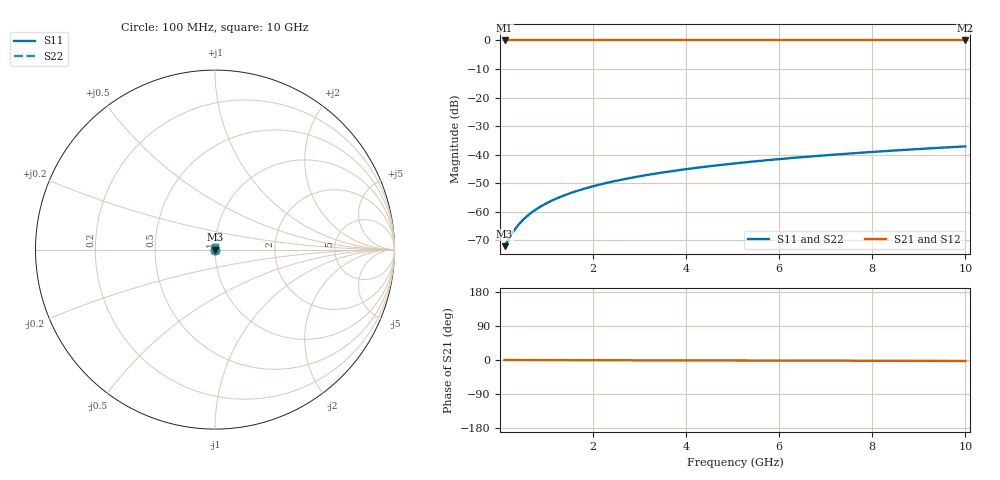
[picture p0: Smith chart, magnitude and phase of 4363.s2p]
# Hz S RI R 50.00
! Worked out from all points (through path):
!   100 points, 100 MHz to 10 GHz, reference 50 ohm
!   highest |S21| = 0.00 dB at 100 MHz (marker M1); lowest = 0.0 dB at 10 GHz (marker M2)
!   lowest |S11| = -72.1 dB at 100 MHz (marker M3), VSWR 1.00, Z = 50 + j0.0139 ohm
!   |S11| at or under -10 dB: start of sweep to end of sweep
!   |S22| runs from -72.1 to -37.1 dB; largest |S21 - S12| = 0
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1e8  0.000206 0.000139  0.9998 -0.000445  0.9998 -0.000445  0.000206 0.000139
2e8  0.000207 0.000277  0.9998 -0.000891  0.9998 -0.000891  0.000207 0.000277
3e8  0.000209 0.000416  0.9998 -0.00134  0.9998 -0.00134  0.000209 0.000416
4e8  0.00021 0.000554  0.9998 -0.00178  0.9998 -0.00178  0.00021 0.000554
5e8  0.000211 0.000693  0.9998 -0.00223  0.9998 -0.00223  0.000211 0.000693
6e8  0.000212 0.000831  0.9998 -0.00267  0.9998 -0.00267  0.000212 0.000831
7e8  0.000213 0.00097  0.9998 -0.00312  0.9998 -0.00312  0.000213 0.00097
9e8  0.000216 0.00125  0.9998 -0.00401  0.9998 -0.00401  0.000216 0.00125
1e9  0.000217 0.00139  0.9998 -0.00445  0.9998 -0.00445  0.000217 0.00139
1.2e9  0.000221 0.00166  0.9998 -0.00535  0.9998 -0.00535  0.000221 0.00166
1.5e9  0.000226 0.00208  0.9998 -0.00668  0.9998 -0.00668  0.000226 0.00208
1.8e9  0.000233 0.00249  0.9997 -0.00802  0.9997 -0.00802  0.000233 0.00249
2.1e9  0.000241 0.00291  0.9997 -0.00936  0.9997 -0.00936  0.000241 0.00291
2.5e9  0.000253 0.00346  0.9997 -0.0111  0.9997 -0.0111  0.000253 0.00346
2.9e9  0.000267 0.00402  0.9997 -0.0129  0.9997 -0.0129  0.000267 0.00402
3.4e9  0.000287 0.00471  0.9996 -0.0152  0.9996 -0.0152  0.000287 0.00471
4.2e9  0.000326 0.00582  0.9996 -0.0187  0.9996 -0.0187  0.000326 0.00582
5.1e9  0.000378 0.00707  0.9995 -0.0228  0.9995 -0.0228  0.000378 0.00707
5.9e9  0.000434 0.00818  0.9994 -0.0263  0.9994 -0.0263  0.000434 0.00818
6.7e9  0.000497 0.00929  0.9993 -0.0299  0.9993 -0.0299  0.000497 0.00929
8.4e9  0.000659 0.0117  0.999 -0.0376  0.999 -0.0376  0.000659 0.0117
1e10  0.000845 0.0139  0.9986 -0.0448  0.9986 -0.0448  0.000845 0.0139
